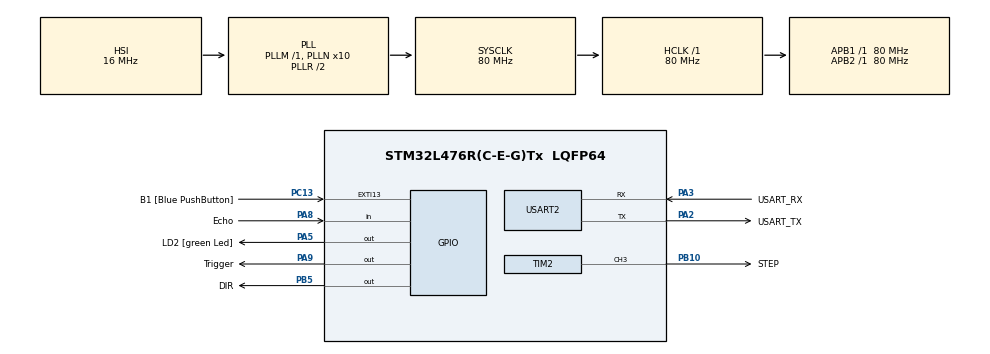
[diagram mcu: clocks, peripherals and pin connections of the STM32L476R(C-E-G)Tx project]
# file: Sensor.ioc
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Mcu.Family=STM32L4
Mcu.Name=STM32L476R(C-E-G)Tx
Mcu.Package=LQFP64
NVIC.PriorityGroup=NVIC_PRIORITYGROUP_4
NVIC.TIM1_UP_TIM16_IRQn=true\:0\:0\:false\:false\:true\:true\:true\:true
NVIC.TIM7_IRQn=true\:0\:0\:false\:false\:true\:true\:true\:true
PA13\ (JTMS-SWDIO).GPIO_Label=TMS
PA13\ (JTMS-SWDIO).Mode=Serial_Wire
PA13\ (JTMS-SWDIO).Signal=SYS_JTMS-SWDIO
PA14\ (JTCK-SWCLK).GPIO_Label=TCK
PA14\ (JTCK-SWCLK).Mode=Serial_Wire
PA14\ (JTCK-SWCLK).Signal=SYS_JTCK-SWCLK
PA2.GPIO_Label=USART_TX
PA2.GPIO_Mode=GPIO_MODE_AF_PP
PA2.GPIO_PuPd=GPIO_NOPULL
PA2.GPIO_Speed=GPIO_SPEED_FREQ_VERY_HIGH
PA2.Mode=Asynchronous
PA2.Signal=USART2_TX
PA3.GPIO_Label=USART_RX
PA3.GPIO_Mode=GPIO_MODE_AF_PP
PA3.GPIO_PuPd=GPIO_NOPULL
PA3.GPIO_Speed=GPIO_SPEED_FREQ_VERY_HIGH
PA3.Mode=Asynchronous
PA3.Signal=USART2_RX
PA5.GPIO_Label=LD2 [green Led]
PA5.GPIO_ModeDefaultOutputPP=GPIO_MODE_OUTPUT_PP
PA5.GPIO_PuPd=GPIO_NOPULL
PA5.GPIO_Speed=GPIO_SPEED_FREQ_LOW
PA5.Signal=GPIO_Output
PA8.GPIO_Label=Echo
PA8.Signal=GPIO_Input
PA9.GPIO_Label=Trigger
PA9.Signal=GPIO_Output
PB10.GPIO_Label=STEP
PB10.Signal=S_TIM2_CH3
PB3\ (JTDO-TRACESWO).GPIO_Label=SWO
PB3\ (JTDO-TRACESWO).Signal=SYS_JTDO-SWO
PB5.GPIO_Label=DIR
PB5.Signal=GPIO_Output
PC13.GPIO_Label=B1 [Blue PushButton]
PC13.GPIO_ModeDefaultEXTI=GPIO_MODE_IT_FALLING
PC13.GPIO_PuPd=GPIO_NOPULL
PC13.Signal=GPXTI13
PC14-OSC32_IN\ (PC14).Mode=LSE-External-Oscillator
PC14-OSC32_IN\ (PC14).Signal=RCC_OSC32_IN
PC15-OSC32_OUT\ (PC15).Mode=LSE-External-Oscillator
PC15-OSC32_OUT\ (PC15).Signal=RCC_OSC32_OUT
PH0-OSC_IN\ (PH0).Signal=RCC_OSC_IN
PH1-OSC_OUT\ (PH1).Signal=RCC_OSC_OUT
ProjectManager.HeapSize=0x200
ProjectManager.StackSize=0x400
ProjectManager.TargetToolchain=STM32CubeIDE
RCC.ADCFreq_Value=64000000
RCC.AHBFreq_Value=80000000
RCC.APB1Freq_Value=80000000
RCC.APB1TimFreq_Value=80000000
RCC.APB2Freq_Value=80000000
RCC.APB2TimFreq_Value=80000000
RCC.CortexFreq_Value=80000000
RCC.HCLKFreq_Value=80000000
RCC.HSE_VALUE=8000000
RCC.HSI_VALUE=16000000
RCC.MSI_VALUE=4000000
RCC.PLLN=10
RCC.PLLSourceVirtual=RCC_PLLSOURCE_HSI
RCC.PREFETCH_ENABLE=1
RCC.SYSCLKFreq_VALUE=80000000
RCC.SYSCLKSource=RCC_SYSCLKSOURCE_PLLCLK
RCC.USBFreq_Value=64000000
RCC.VCOOutputFreq_Value=160000000
SH.S_TIM2_CH3.0=TIM2_CH3,PWM Generation3 CH3
TIM2.Channel-PWM\ Generation3\ CH3=TIM_CHANNEL_3
TIM2.Period=1000-1
TIM2.Prescaler=40-1
TIM2.Pulse-PWM\ Generation3\ CH3=500
TIM2.TIM_MasterOutputTrigger=TIM_TRGO_OC3REF
TIM2.TIM_MasterSlaveMode=TIM_MASTERSLAVEMODE_ENABLE
TIM7.Prescaler=79
USART2.VirtualMode-Asynchronous=VM_ASYNC
VP_TIM1_VS_ClockSourceITR.Mode=TriggerSource_ITR1
VP_TIM1_VS_ControllerModeClock.Mode=Clock Mode
VP_TIM7_VS_ClockSourceINT.Mode=Enable_Timer
board=NUCLEO-L476RG

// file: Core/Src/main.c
/* USER CODE BEGIN Header */
/**
  ******************************************************************************
  * @file           : main.c
  * @brief          : Main program body
  ******************************************************************************
  * @attention
  *
  * Copyright (c) 2024 STMicroelectronics.
  * All rights reserved.
  *
  * This software is licensed under terms that can be found in the LICENSE file
  * in the root directory of this software component.
  * If no LICENSE file comes with this software, it is provided AS-IS.
  *
  ******************************************************************************
  */
/* USER CODE END Header */
#include "main.h"
#include "tim.h"
#include "usart.h"
#include "gpio.h"
#include <stdlib.h>
#include "stepper.h"
#include "HCSR04.h"

/* USER CODE BEGIN PD */
#define SET_TABLE_SIZE	73
#define ANGLE_STEP 5
/* USER CODE END PD */

/* USER CODE BEGIN PV */
struct stepper_s stepper = {0};
/* USER CODE END PV */

void SystemClock_Config(void);

int main(void)
{

  /* MCU Configuration--------------------------------------------------------*/

  /* Reset of all peripherals, Initializes the Flash interface and the Systick. */
  HAL_Init();

  /* Configure the system clock */
  SystemClock_Config();

  /* Initialize all configured peripherals */
  MX_GPIO_Init();
  MX_USART2_UART_Init();
  MX_TIM7_Init();
  MX_TIM2_Init();
  MX_TIM1_Init();
  /* USER CODE BEGIN 2 */
  HAL_TIM_Base_Start(&htim7);
#if STEPPER_ANGLE_MODE == STEPPER_ANGLE_MODE_SLAVE_TIM
  stepper_init(&stepper, &htim2, TIM_CHANNEL_3, &htim1);

#elif STEPPER_ANGLE_MODE == STEPPER_ANGLE_MODE_MANUAL
  stepper_init(&stepper, &htim2, TIM_CHANNEL_3);

  int32_t angle_table[SET_TABLE_SIZE] = {0};
  int32_t angle;
  int i = 0;

  {
		int max_angle = -((SET_TABLE_SIZE - 1) / 2 * ANGLE_STEP);
		for (;i<SET_TABLE_SIZE;i++){
		  angle_table[i] = max_angle + i * ANGLE_STEP;
		}
  }

  i = (SET_TABLE_SIZE - 1) / 2;
  uint32_t distance;
  //uint32_t angle = 0; //speed = 0;
  direction dir = CCW;

  uint32_t time_tick = HAL_GetTick();
  uint32_t max_time = 2000;
  /* USER CODE END 2 */

  /* Infinite loop */
  while (1)
  {

    /* USER CODE BEGIN 3 */
	if ((HAL_GetTick() - time_tick) > max_time)
	  {
		angle = abs(angle_table[i]);
		dir = (i >= (SET_TABLE_SIZE/2 + 1)) ? CCW : CW;

		stepper_set_angle(&stepper, dir, 1 , angle); // Ustawienie kąta bezwzględnego

		distance = Sensor_get_distance();

		Send_data(distance, angle);

		HAL_Delay(500);// Poczekaj przed wykonaniem następnego kroku
		i = (i + 1) % SET_TABLE_SIZE; // Zapętlenie indeksu w tabeli kątów
	  }

    /* USER CODE END WHILE */

  }
#endif
  /* USER CODE END 3 */
}

void SystemClock_Config(void)
{
  RCC_OscInitTypeDef RCC_OscInitStruct = {0};
  RCC_ClkInitTypeDef RCC_ClkInitStruct = {0};

  /** Configure the main internal regulator output voltage
  */
  if (HAL_PWREx_ControlVoltageScaling(PWR_REGULATOR_VOLTAGE_SCALE1) != HAL_OK)
  {
    Error_Handler();
  }

  /** Initializes the RCC Oscillators according to the specified parameters
  * in the RCC_OscInitTypeDef structure.
  */
  RCC_OscInitStruct.OscillatorType = RCC_OSCILLATORTYPE_HSI;
  RCC_OscInitStruct.HSIState = RCC_HSI_ON;
  RCC_OscInitStruct.HSICalibrationValue = RCC_HSICALIBRATION_DEFAULT;
  RCC_OscInitStruct.PLL.PLLState = RCC_PLL_ON;
  RCC_OscInitStruct.PLL.PLLSource = RCC_PLLSOURCE_HSI;
  RCC_OscInitStruct.PLL.PLLM = 1;
  RCC_OscInitStruct.PLL.PLLN = 10;
  RCC_OscInitStruct.PLL.PLLP = RCC_PLLP_DIV7;
  RCC_OscInitStruct.PLL.PLLQ = RCC_PLLQ_DIV2;
  RCC_OscInitStruct.PLL.PLLR = RCC_PLLR_DIV2;
  if (HAL_RCC_OscConfig(&RCC_OscInitStruct) != HAL_OK)
  {
    Error_Handler();
  }

  /** Initializes the CPU, AHB and APB buses clocks
  */
  RCC_ClkInitStruct.ClockType = RCC_CLOCKTYPE_HCLK|RCC_CLOCKTYPE_SYSCLK
                              |RCC_CLOCKTYPE_PCLK1|RCC_CLOCKTYPE_PCLK2;
  RCC_ClkInitStruct.SYSCLKSource = RCC_SYSCLKSOURCE_PLLCLK;
  RCC_ClkInitStruct.AHBCLKDivider = RCC_SYSCLK_DIV1;
  RCC_ClkInitStruct.APB1CLKDivider = RCC_HCLK_DIV1;
  RCC_ClkInitStruct.APB2CLKDivider = RCC_HCLK_DIV1;

  if (HAL_RCC_ClockConfig(&RCC_ClkInitStruct, FLASH_LATENCY_4) != HAL_OK)
  {
    Error_Handler();
  }
}

/* USER CODE BEGIN 4 */
#if STEPPER_ANGLE_MODE == STEPPER_ANGLE_MODE_SLAVE_TIM
void HAL_TIM_PeriodElapsedCallback(TIM_HandleTypeDef *htim)
{
	if(htim->Instance == stepper.slave_timer.htim->Instance)
	{
		stepper_stop(&stepper);
	}
}
#elif STEPPER_ANGLE_MODE == STEPPER_ANGLE_MODE_MANUAL
void HAL_TIM_PWM_PulseFinishedCallback(TIM_HandleTypeDef *htim)

{
	if(htim->Instance == stepper.timer.htim->Instance)
	{
		stepper.step_counter++;

		if(stepper.step_counter >= stepper.steps_to_count)
		{
			stepper_stop(&stepper);
		}
	}
}
#endif

/* USER CODE END 4 */

void Error_Handler(void)
{
  __disable_irq();
  while (1)
  {
  }
}
